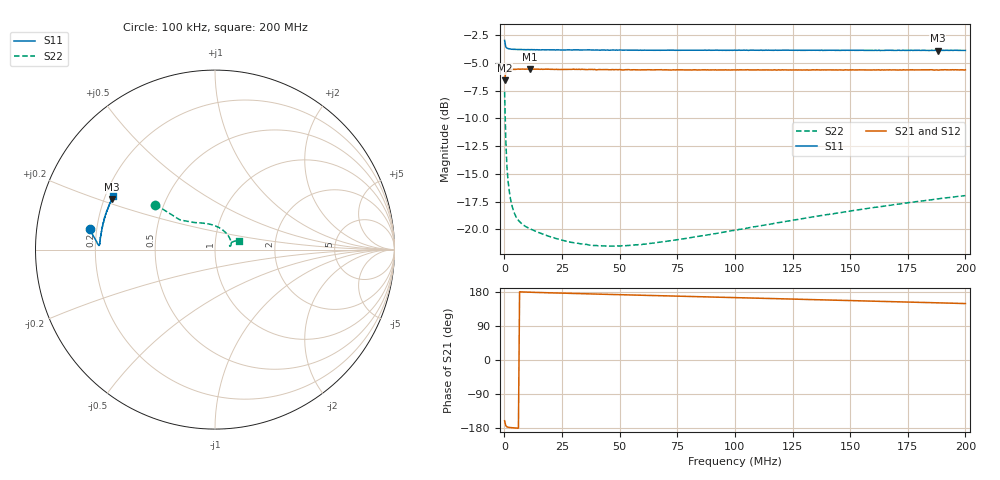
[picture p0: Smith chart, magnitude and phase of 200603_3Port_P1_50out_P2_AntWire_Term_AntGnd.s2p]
# MHz S RI R 50
! S-Parameters data
! Freq  reS11  imS11  reS21  imS21  reS12  imS12  reS22  imS22
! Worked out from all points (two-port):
!   401 points, 100 kHz to 200 MHz, reference 50 ohm
!   highest |S21| = -5.56 dB at 11.09 MHz (marker M1); lowest = -6.6 dB at 100 kHz (marker M2)
!   |S21| within 3 dB of the highest: start of sweep to end of sweep
!   lowest |S11| = -3.9 dB at 188 MHz (marker M3), VSWR 4.52, Z = 11.6 + j11 ohm
!   |S11| at or under -10 dB: nowhere
!   |S22| runs from -21.5 to -7.6 dB; largest |S21 - S12| = 0.016
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0.1  -0.6992 0.113  -0.4423 -0.1575  -0.4397 -0.1419  -0.3319 0.251
0.59975  -0.6608 0.0467  -0.5024 -0.0586  -0.5003 -0.0505  -0.195 0.1652
1.59925  -0.6507 0.0267  -0.5175 -0.0243  -0.5175 -0.0155  -0.073 0.148
2.099  -0.6488 0.0247  -0.5207 -0.0192  -0.5202 -0.0101  -0.0397 0.1439
2.59875  -0.6475 0.0237  -0.5222 -0.0156  -0.5221 -0.00634  -0.0138 0.1375
3.0985  -0.6461 0.0232  -0.5233 -0.0123  -0.5231 -0.00321  0.00646 0.1301
3.59825  -0.6458 0.0227  -0.5243 -0.0101  -0.5236 -0.000623  0.0225 0.1227
4.59775  -0.6454 0.0231  -0.5247 -0.0056  -0.5252 0.00337  0.0453 0.1075
6.097  -0.6443 0.0241  -0.5269 -0.00126  -0.5255 0.00841  0.0653 0.0883
8.096  -0.6437 0.0266  -0.5267 0.00337  -0.5256 0.0127  0.0787 0.0691
11.0945  -0.6427 0.0298  -0.5268 0.0105  -0.525 0.0195  0.0874 0.0502
15.0925  -0.6418 0.0359  -0.5252 0.0173  -0.5247 0.0268  0.0902 0.035
19.59025  -0.6412 0.0417  -0.5249 0.0246  -0.5237 0.0346  0.0895 0.0258
26.58675  -0.64 0.0529  -0.5238 0.0349  -0.5215 0.045  0.0864 0.0195
33.58325  -0.6391 0.0633  -0.5235 0.0459  -0.5209 0.0555  0.0841 0.0182
46.57675  -0.6357 0.0832  -0.5199 0.0649  -0.5173 0.0749  0.0816 0.0206
67.0665  -0.6299 0.1127  -0.5137 0.093  -0.5115 0.1032  0.0829 0.028
100.05  -0.6196 0.1609  -0.5036 0.1386  -0.4988 0.1485  0.0914 0.0388
133.5333  -0.6054 0.2078  -0.4891 0.1843  -0.4824 0.1934  0.1041 0.0457
167.0165  -0.5875 0.2534  -0.4703 0.2283  -0.4623 0.2361  0.1189 0.0483
188.006  -0.5728 0.2805  -0.4551 0.2542  -0.4476 0.2621  0.1287 0.0477
200  -0.5656 0.2967  -0.4476 0.2699  -0.4391 0.277  0.1342 0.0465
